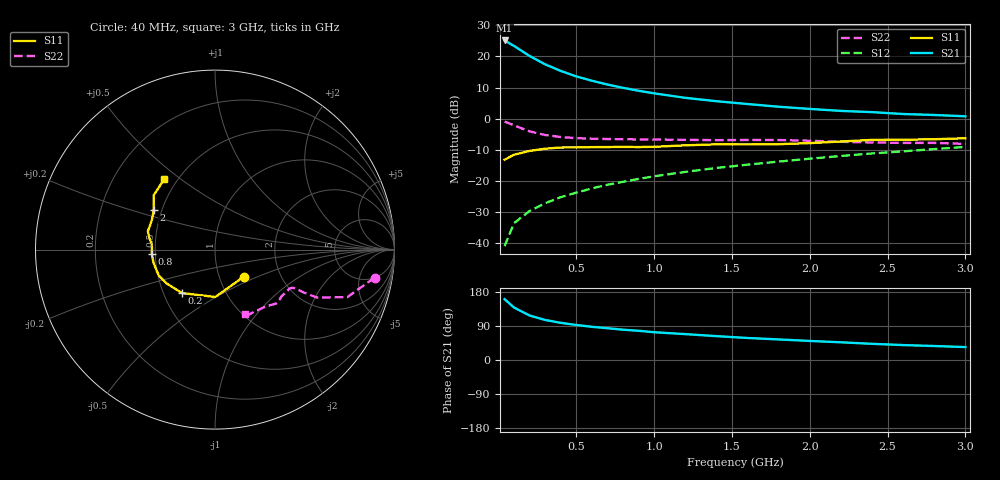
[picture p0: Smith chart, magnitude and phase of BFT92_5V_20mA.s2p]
! Filename:  BFT92E.S2P  Version:  2.0
! Philips part #: BFT92  Date: May 1990
! Bias condition: Vce=-5V, Ic=-20mA
#  MHz  S  MA  R  50
! Freq  S11  S21  S12  S22  !GUM [dB]
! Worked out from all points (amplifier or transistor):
!   21 points, 40 MHz to 3 GHz, reference 50 ohm
!   highest |S21| = 25.1 dB at 40 MHz (marker M1)
!   |S21| within 3 dB of that: start of sweep to 139.2 MHz
!   unconditionally stable (mu >= 1): 397.9 MHz to 2.137 GHz
!   at 300 MHz: K = 0.94, MSG = 22.3 dB, |S12| = -27.1 dB
!   at 1 GHz: K = 1.12, MAG = 11.2 dB, |S12| = -18.5 dB
!   at 3 GHz: K = 0.89, MSG = 4.9 dB, |S12| = -9.0 dB
!   S11 on the Smith chart (normalised r, x): 40 MHz: 1.30, -0.42; 200 MHz: 0.62, -0.33; 800 MHz: 0.48, -0.02; 2 GHz: 0.45, +0.24; 3 GHz: 0.42, +0.44
40  0.22 -43.8  18.04 160.5  0.009 79.5  0.903 -10.0
100  0.264 -89.6  14.78 138.6  0.021 72.1  0.783 -19.8
200  0.304 -127.2  10.19 117.5  0.033 68.7  0.627 -25.2
300  0.33 -145.5  7.467 105.7  0.044 69.4  0.548 -25.8
400  0.345 -155.5  5.856 98.1  0.055 70.9  0.509 -25.8
500  0.346 -162.2  4.782 92.5  0.065 72.0  0.488 -26.0
600  0.35 -167.5  4.074 87.6  0.076 72.9  0.478 -26.5
700  0.351 -171.8  3.538 83.9  0.087 73.5  0.472 -27.2
800  0.353 -176.3  3.137 80.0  0.097 74.1  0.468 -27.7
900  0.351 179.2  2.812 77.1  0.108 74.2  0.466 -28.9
1000  0.354 175.2  2.554 73.3  0.119 74.2  0.463 -29.8
1200  0.374 169.2  2.165 68.3  0.14 74.4  0.458 -32.3
1400  0.388 164.6  1.911 63.0  0.162 74.2  0.453 -35.3
1600  0.386 159.7  1.722 58.1  0.183 73.7  0.456 -38.5
1800  0.39 153.8  1.557 54.3  0.205 73.6  0.455 -41.2
2000  0.406 147.4  1.437 50.3  0.228 73.0  0.443 -43.8
2200  0.431 142.3  1.335 46.7  0.252 72.6  0.426 -47.5
2400  0.457 138.5  1.276 42.7  0.277 71.4  0.416 -53.0
2600  0.46 135.8  1.19 39.4  0.299 70.4  0.409 -58.0
2800  0.468 131.6  1.148 36.9  0.326 69.7  0.409 -62.0
3000  0.486 125.5  1.094 34.1  0.353 68.0  0.394 -65.3
